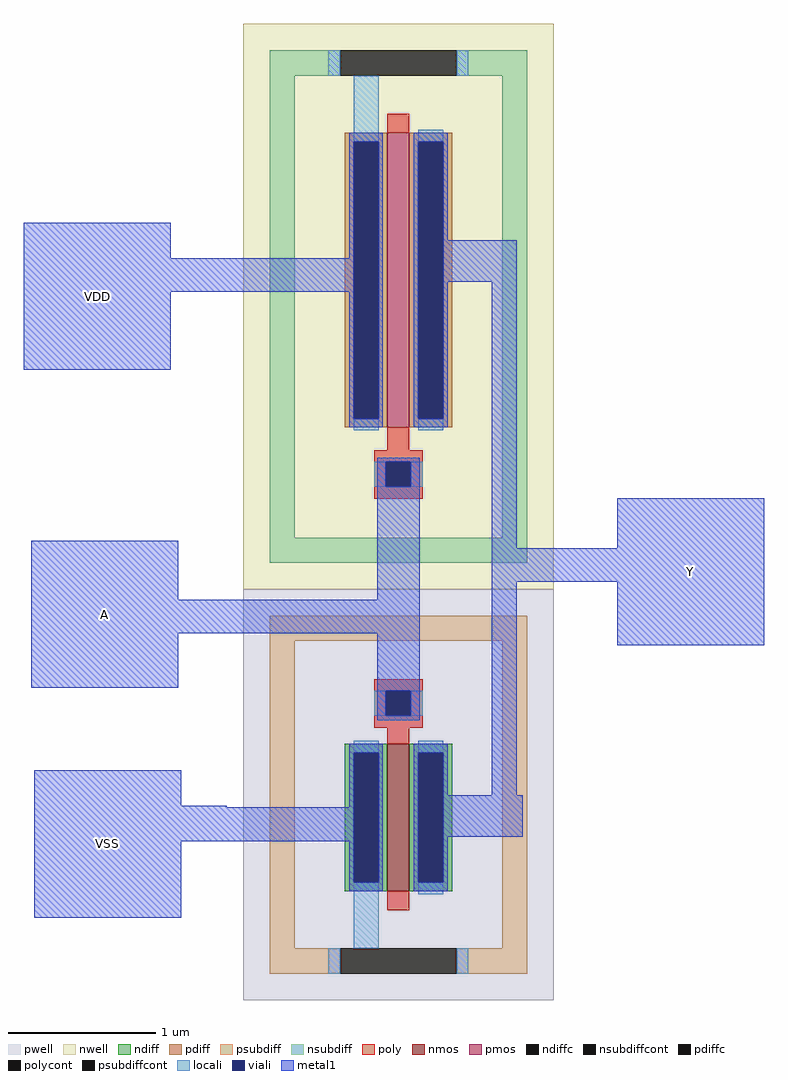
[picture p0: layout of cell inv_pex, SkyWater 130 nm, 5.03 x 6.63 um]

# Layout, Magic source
magic
tech sky130B
magscale 1 2
<< nwell >>
rect 276 354 698 1122
<< pwell >>
rect 276 -204 698 354
<< nmos >>
rect 472 -56 502 144
<< pmos >>
rect 472 574 502 974
<< ndiff >>
rect 414 132 472 144
rect 414 -44 426 132
rect 460 -44 472 132
rect 414 -56 472 -44
rect 502 132 560 144
rect 502 -44 514 132
rect 548 -44 560 132
rect 502 -56 560 -44
<< pdiff >>
rect 414 962 472 974
rect 414 586 426 962
rect 460 586 472 962
rect 414 574 472 586
rect 502 962 560 974
rect 502 586 514 962
rect 548 586 560 962
rect 502 574 560 586
<< ndiffc >>
rect 426 -44 460 132
rect 514 -44 548 132
<< pdiffc >>
rect 426 586 460 962
rect 514 586 548 962
<< psubdiff >>
rect 312 284 662 318
rect 312 -134 346 284
rect 628 -134 662 284
rect 312 -168 408 -134
rect 566 -168 662 -134
<< nsubdiff >>
rect 312 1052 408 1086
rect 566 1052 662 1086
rect 312 424 346 1052
rect 628 424 662 1052
rect 312 390 662 424
<< psubdiffcont >>
rect 408 -168 566 -134
<< nsubdiffcont >>
rect 408 1052 566 1086
<< poly >>
rect 472 974 502 1000
rect 472 543 502 574
rect 454 527 520 543
rect 454 493 470 527
rect 504 493 520 527
rect 454 477 520 493
rect 454 216 520 232
rect 454 182 470 216
rect 504 182 520 216
rect 454 166 520 182
rect 472 144 502 166
rect 472 -82 502 -56
<< polycont >>
rect 470 493 504 527
rect 470 182 504 216
<< locali >>
rect 392 1052 408 1086
rect 566 1052 582 1086
rect 426 962 460 1052
rect 426 570 460 586
rect 514 962 548 978
rect 514 570 548 586
rect 454 493 470 527
rect 504 493 520 527
rect 454 182 470 216
rect 504 182 520 216
rect 426 132 460 148
rect 426 -134 460 -44
rect 514 132 548 148
rect 514 -60 548 -44
rect 392 -168 408 -134
rect 566 -168 582 -134
<< viali >>
rect 426 586 460 962
rect 514 586 548 962
rect 470 493 504 527
rect 470 182 504 216
rect 426 -44 460 132
rect 514 -44 548 132
<< metal1 >>
rect 420 962 466 974
rect -22 804 178 852
rect 420 804 426 962
rect -22 758 426 804
rect -22 652 178 758
rect 420 586 426 758
rect 460 586 466 962
rect 420 574 466 586
rect 508 962 554 974
rect 508 586 514 962
rect 548 828 554 962
rect 548 772 648 828
rect 548 586 554 772
rect 508 574 554 586
rect 458 527 516 533
rect 458 493 470 527
rect 504 493 516 527
rect -12 340 188 420
rect 458 340 516 493
rect -12 294 516 340
rect -12 220 188 294
rect 458 216 516 294
rect 458 182 470 216
rect 504 182 516 216
rect 458 176 516 182
rect 614 410 648 772
rect 784 410 984 478
rect 614 364 984 410
rect 420 132 466 144
rect -8 60 192 108
rect -8 58 254 60
rect 420 58 426 132
rect -8 12 426 58
rect -8 -92 192 12
rect 420 -44 426 12
rect 460 -44 466 132
rect 420 -56 466 -44
rect 508 132 554 144
rect 508 -44 514 132
rect 548 74 554 132
rect 614 74 648 364
rect 784 278 984 364
rect 548 18 656 74
rect 548 -44 554 18
rect 508 -56 554 -44
<< labels >>
flabel metal1 -22 652 178 852 0 FreeSans 256 0 0 0 VDD
port 2 nsew
flabel metal1 -12 220 188 420 0 FreeSans 256 0 0 0 A
port 1 nsew
flabel metal1 784 278 984 478 0 FreeSans 256 0 0 0 Y
port 3 nsew
flabel metal1 -8 -92 192 108 0 FreeSans 256 0 0 0 VSS
port 4 nsew
<< end >>
